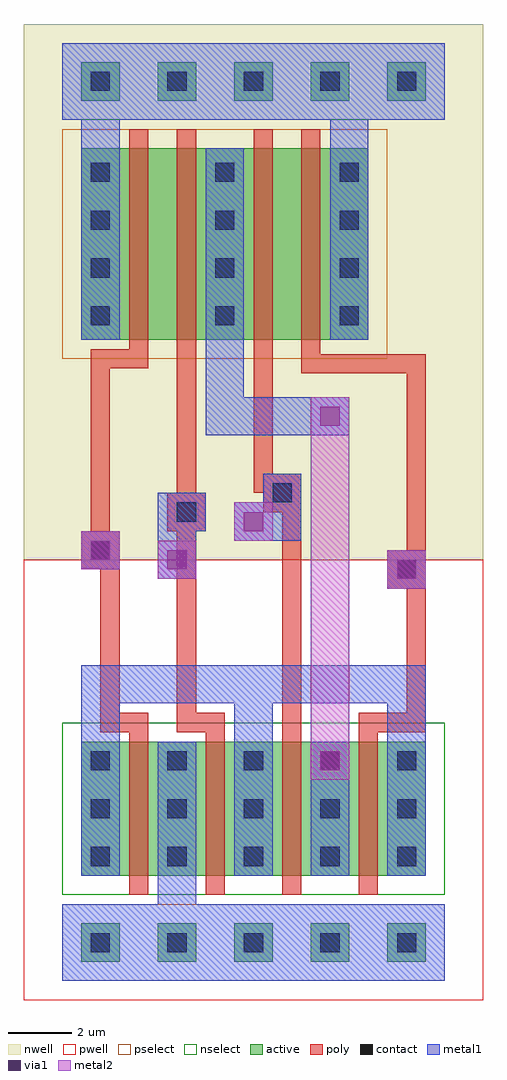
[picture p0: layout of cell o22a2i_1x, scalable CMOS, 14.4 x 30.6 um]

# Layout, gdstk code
import gdstk
lib = gdstk.Library(unit=1e-6, precision=1e-09)
def R(c, l, rs):  # rectangles x0, y0, x1, y1
    for r in rs: c.add(gdstk.rectangle(r[:2], r[2:], *l))
def A(c, l, x, y, w, h, nx, ny, dx, dy):  # array of equal rectangles
    R(c, l, [(x+i*dx, y+j*dy, x+i*dx+w, y+j*dy+h) for i in range(nx) for j in range(ny)])
contact = (25, 0)
pwell = (41, 0)
nwell = (42, 0)
active = (43, 0)
pselect = (44, 0)
nselect = (45, 0)
poly = (46, 0)
metal1 = (49, 0)
via1 = (50, 0)
metal2 = (51, 0)

o22a2i_1x = lib.new_cell('o22a2i_1x')
A(o22a2i_1x, contact, 0.3, -0.3, 0.6, 0.6, 5, 2, 2.4, 2.7)
A(o22a2i_1x, contact, 0.3, 3.9, 0.6, 0.6, 5, 2, 2.4, 1.5)
A(o22a2i_1x, contact, 0.3, 19.35, 0.6, 0.6, 3, 4, 3.9, 1.5)
A(o22a2i_1x, contact, 0.3, 26.7, 0.6, 0.6, 5, 1, 2.4, 0)
R(o22a2i_1x, contact, [(9.9,11.4,10.5,12), (0.3,12,0.9,12.6), (3,13.2,3.6,13.8), (6,13.8,6.6,14.4)])
A(o22a2i_1x, pwell, -0.9, -1.5, 3, 3, 5, 1, 2.4, 0)
A(o22a2i_1x, pwell, -1.8, 0.3, 4.8, 7.8, 5, 1, 2.4, 0)
A(o22a2i_1x, pwell, -1.2, 0.3, 6, 7.8, 4, 1, 2.4, 0)
R(o22a2i_1x, pwell, [(-1.8,-1.8,12.6,12), (3.075,0.75,7.725,5.25), (0.675,1.65,5.25,6.15), (0.75,1.65,5.325,6.15), (3.075,1.8,7.65,6.3), (7.875,2.1,12.45,6.6), (5.475,2.25,10.05,6.75), (5.55,2.25,10.125,6.75), (-1.65,2.4,2.925,6.9), (5.625,3.6,10.2,8.1)])
A(o22a2i_1x, nwell, -1.8, 17.1, 4.8, 9.6, 3, 1, 3.9, 0)
A(o22a2i_1x, nwell, -0.9, 25.5, 3, 3, 5, 1, 2.4, 0)
R(o22a2i_1x, nwell, [(-1.8,12,12.6,28.8), (-1.2,17.1,4.8,26.7), (0.3,17.1,6.3,26.7), (2.25,17.1,6.825,21.6), (2.7,17.1,8.7,26.7), (4.2,17.1,10.2,26.7), (-1.65,17.4,2.925,21.9), (6,17.4,10.575,21.9), (-0.075,17.55,5.175,22.05), (2.175,18,6.75,22.5), (3.825,18.75,9.075,23.25)])
A(o22a2i_1x, active, 0, -0.6, 1.2, 1.2, 5, 2, 2.4, 27)
A(o22a2i_1x, active, 0, 2.1, 1.2, 4.2, 5, 1, 2.4, 0)
A(o22a2i_1x, active, 0.6, 2.1, 2.4, 4.2, 4, 1, 2.4, 0)
A(o22a2i_1x, active, 0, 18.9, 1.2, 6, 3, 1, 3.9, 0)
R(o22a2i_1x, active, [(4.875,2.55,5.925,3.45), (2.475,3.45,3.45,4.35), (2.55,3.45,3.525,4.35), (4.875,3.6,5.85,4.5), (9.675,3.9,10.65,4.8), (7.275,4.05,8.25,4.95), (7.35,4.05,8.325,4.95), (0.15,4.2,1.125,5.1), (7.425,5.4,8.4,6.3), (0.6,18.9,3,24.9), (2.1,18.9,4.5,24.9), (4.05,18.9,5.025,19.8), (4.5,18.9,6.9,24.9), (6,18.9,8.4,24.9), (0.15,19.2,1.125,20.1), (7.8,19.2,8.775,20.1), (1.725,19.35,3.375,20.25), (3.975,19.8,4.95,20.7), (5.625,20.55,7.275,21.45)])
A(o22a2i_1x, pselect, -0.6, -1.2, 2.4, 2.4, 5, 1, 2.4, 0)
A(o22a2i_1x, pselect, -0.6, 18.3, 2.4, 7.2, 3, 1, 3.9, 0)
R(o22a2i_1x, pselect, [(0,18.3,3.6,25.5), (1.5,18.3,5.1,25.5), (3.45,18.3,5.625,20.4), (3.9,18.3,7.5,25.5), (5.4,18.3,9,25.5), (-0.45,18.6,1.725,20.7), (7.2,18.6,9.375,20.7), (1.125,18.75,3.975,20.85), (3.375,19.2,5.55,21.3), (5.025,19.95,7.875,22.05)])
A(o22a2i_1x, nselect, -0.6, 1.5, 2.4, 5.4, 5, 1, 2.4, 0)
A(o22a2i_1x, nselect, 0, 1.5, 3.6, 5.4, 4, 1, 2.4, 0)
A(o22a2i_1x, nselect, -0.6, 25.8, 2.4, 2.4, 5, 1, 2.4, 0)
R(o22a2i_1x, nselect, [(4.275,1.95,6.525,4.05), (1.875,2.85,4.05,4.95), (1.95,2.85,4.125,4.95), (4.275,3,6.45,5.1), (9.075,3.3,11.25,5.4), (6.675,3.45,8.85,5.55), (6.75,3.45,8.925,5.55), (-0.45,3.6,1.725,5.7), (6.825,4.8,9,6.9)])
A(o22a2i_1x, poly, 1.5, 1.5, 0.6, 5.4, 4, 1, 2.4, 0)
R(o22a2i_1x, poly, [(0.6,6.6,2.1,7.2), (0.6,6.6,1.2,12.6), (3,6.6,3.6,13.8), (3,6.6,4.5,7.2), (6.3,6.6,6.9,14.4), (8.7,6.6,10.8,7.2), (9.9,6.6,10.8,7.2), (10.2,6.6,10.8,11.4), (10.2,10.8,10.8,11.4), (10.2,10.8,10.8,12), (9.6,11.1,10.8,12.3), (9.9,11.4,10.8,12), (10.2,11.4,10.8,18.45), (0,11.7,1.2,12.9), (0,11.85,0.9,12.45), (0.3,12,1.2,12.6), (0.3,12,0.9,18.6), (2.7,12.9,3.9,14.1), (2.85,13.2,3.6,13.8), (3,13.2,3.6,18.6), (5.7,13.5,6.9,14.7), (6,13.8,6.9,14.4), (6.3,13.8,6.9,14.7), (5.4,14.1,6.9,14.7), (5.4,14.1,6,18.6), (6.9,17.85,7.5,18.6), (6.9,17.85,10.8,18.45), (0.3,18,2.1,18.6), (1.5,18.3,2.1,25.5), (3,18.3,3.6,25.5), (5.4,18.3,6,25.5), (6.9,18.3,7.5,25.5)])
A(o22a2i_1x, metal1, -0.6, -1.2, 4.8, 2.4, 4, 1, 2.4, 0)
A(o22a2i_1x, metal1, 0, -0.6, 1.2, 1.2, 5, 2, 2.4, 27)
A(o22a2i_1x, metal1, 0, 2.1, 1.2, 4.2, 5, 1, 2.4, 0)
A(o22a2i_1x, metal1, 0, 18.9, 1.2, 6, 3, 1, 3.9, 0)
R(o22a2i_1x, metal1, [(-0.6,-1.2,1.8,1.2), (-0.6,-1.2,4.2,1.2), (2.4,-0.6,3.6,3.3), (9.6,-0.6,10.8,0.6), (9.6,2.1,10.8,4.35), (0,4.5,1.2,8.7), (4.8,5.1,6,8.7), (7.2,5.1,8.4,6.3), (7.2,5.1,8.4,6.3), (7.2,5.1,8.4,6.3), (7.2,5.1,8.4,6.3), (9.6,5.1,10.8,8.7), (0,7.5,6,8.7), (4.8,7.5,10.8,8.7), (9.6,11.1,10.8,12.3), (9.6,11.1,10.8,12.3), (9.6,11.1,10.8,12.3), (2.4,11.4,3.6,12.6), (2.4,11.4,3.6,14.1), (0,11.7,1.2,12.9), (0,11.7,1.2,12.9), (0,11.7,1.2,12.9), (4.8,12.6,6,13.8), (4.8,12.6,6.9,13.8), (5.7,12.6,6.9,14.7), (2.4,12.9,3.9,14.1), (2.7,12.9,3.9,14.1), (5.7,13.5,6.9,14.7), (3.9,15.9,5.1,20.1), (3.9,15.9,8.4,17.1), (7.2,15.9,8.4,17.1), (0,23.7,1.2,27.6), (7.8,23.7,9,27.6), (-0.6,25.8,1.8,28.2), (-0.6,25.8,4.2,28.2), (1.8,25.8,8.85,28.2), (6.45,25.8,9.6,28.2), (6.45,25.8,9.6,28.2), (7.2,25.8,11.4,28.2), (4.8,26.25,8.4,27.45), (0,26.4,1.2,27.6), (7.05,26.4,8.4,27.6), (9.45,26.4,10.8,27.6), (9.6,26.4,10.8,27.6)])
R(o22a2i_1x, via1, [(7.5,5.4,8.1,6), (7.5,5.4,8.1,6), (9.9,11.4,10.5,12), (2.7,11.7,3.3,12.3), (0.3,12,0.9,12.6), (5.1,12.9,5.7,13.5), (7.5,16.2,8.1,16.8)])
R(o22a2i_1x, metal2, [(7.2,5.1,8.4,6.3), (7.2,5.1,8.4,6.3), (7.2,5.1,8.4,11.4), (7.2,10.2,8.4,17.1), (9.6,11.1,10.8,12.3), (2.4,11.4,3.6,12.6), (0,11.7,1.2,12.9), (4.8,12.6,6,13.8), (7.2,15.9,8.4,17.1)])

lib.write_gds('o22a2i_1x.gds')
